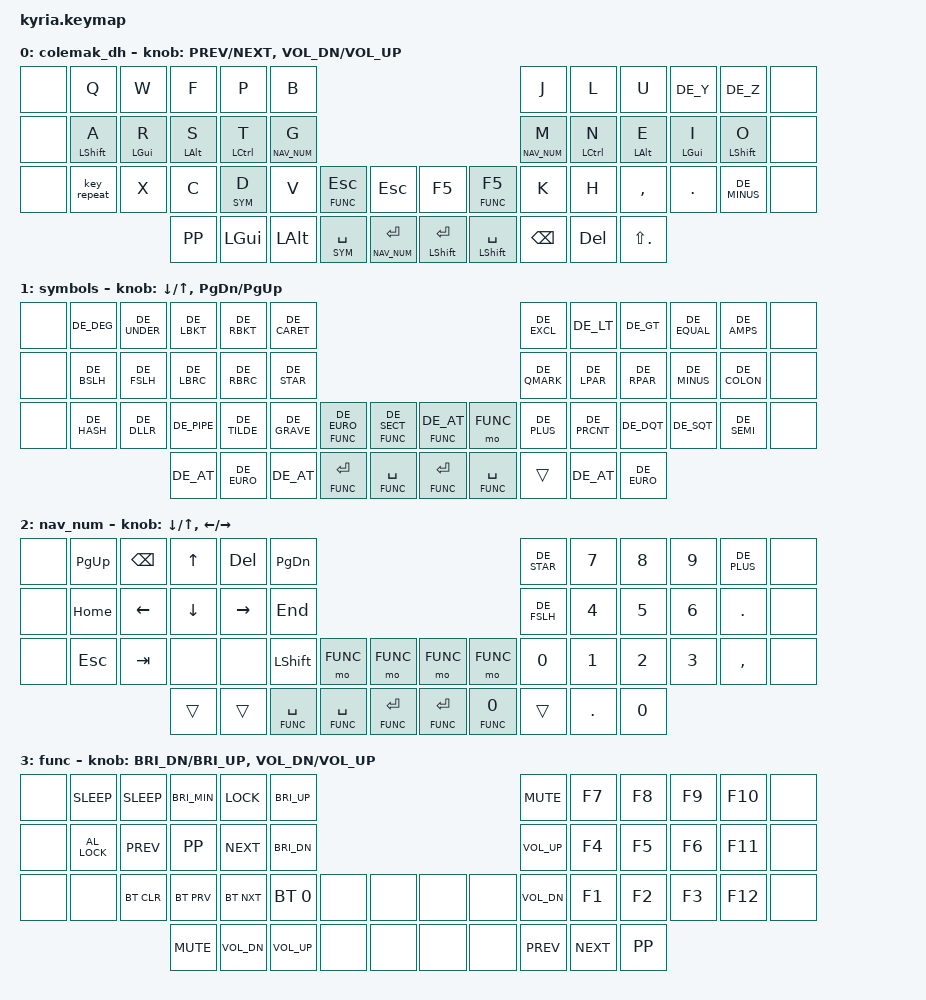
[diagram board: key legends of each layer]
/*
 * Copyright (c) 2020 The ZMK Contributors
 *
 * SPDX-License-Identifier: MIT
 */

#include <behaviors.dtsi>
#include <dt-bindings/zmk/keys.h>
#include <dt-bindings/zmk/bt.h>
#include <dt-bindings/zmk/ext_power.h>
#include <dt-bindings/zmk/outputs.h>

// Thanks to auipga from the ZMK Discord for providing this.
#include "keymap-german-rev3.h"

// Layer Definitions
#define COLEMAK_DH 0
#define SYM 1
#define NAV_NUM 2
#define FUNC 3
// #define NAV_VIM 5

&left_encoder {
    status = "okay";
    steps = <48>;
};

&right_encoder {
    status = "okay";
    steps = <48>;
};


// Behavior configuration
&mt {
    tapping-term-ms = <175>;
    flavor = "tap-preferred";
};
&lt {
    tapping-term-ms = <175>;
    flavor = "tap-preferred";
};
&sk {
    release-after-ms = <500>;
    quick-release;
};

/ {
    behaviors {
        slt: sticky_layer_tap {
            compatible = "zmk,behavior-hold-tap";
            label = "STICKY_LAYER_TAP";
            #binding-cells = <2>;
            tapping_term_ms = <200>;
            quick_tap_ms = <0>;
            flavor = "tap-preferred";
            bindings = <&mo>, <&sk>;
        };
    };

    combos {
        compatible = "zmk,combos";
        combo_tab {
            timeout-ms = <30>;
            key-positions = <15 16>;
            layers = <0 1>;
            bindings = <&kp TAB>;
        };
        combo_ae {
            timeout-ms = <40>;
            key-positions = <13 14>;
            layers = <0>;
            bindings = <&kp DE_AE>;
        };
        combo_ue {
            timeout-ms = <40>;
            key-positions = <8 9>;
            layers = <0>;
            bindings = <&kp DE_UE>;
        };
        combo_oe {
            timeout-ms = <40>;
            key-positions = <21 22>;
            layers = <0>;
            bindings = <&kp DE_OE>;
        };
        combo_ss {
            timeout-ms = <40>;
            key-positions = <14 15>;
            layers = <0>;
            bindings = <&kp DE_SS>;
        };
        combo_mins {
            timeout-ms = <30>;
            key-positions = <20 21>;
            layers = <0 1 2>;
            bindings = <&kp DE_MINUS>;
        };
        combo_unds {
            timeout-ms = <30>;
            key-positions = <19 20>;
            layers = <0 1 2>;
            bindings = <&kp DE_UNDER>;
        };
        combo_at {
            timeout-ms = <30>;
            key-positions = <31 32>;
            layers = <1 2>;
            bindings = <&kp DE_AT>;
        };

    };

    sensors {
        compatible = "zmk,keymap-sensors";
        sensors = <&left_encoder &right_encoder>;
        triggers-per-rotation = <12>;
    };


    keymap {
        compatible = "zmk,keymap";


        colemak_dh {
// .----------------------------------------------------------------------------------------------------------------------.
// ||  Q   |   W  |   F   |  P    |  B   |                   |#|                   |  J   |   L   |   U   |  Y   |  Z    ||
// ||A/LSFT|R/LGUI|S/LALT |T/LCTRL|  G   |                   |#|                   |  M   |N/LCTRL|E/LALT |I/LGUI|O/LSFT ||
// ||repeat|   X  |   C   |   D   |  V   |FUNC/ESC |  ESC    |#|    F5   | FUNC/F5 |  K   |   H   |  ,    |  .   |  - _  ||
//                | Play  | LGUI  | LALT | RET/sym |SPACE/num|#| RET/SFT |SPACE/SFT| BSPC | DEL   |   :   |
            bindings = <
&none &kp Q       &kp W      &kp F      &kp P       &kp B                                    /**/                                 &kp J         &kp L        &kp U        &kp DE_Y   &kp DE_Z     &none
&none &mt LSHFT A &mt LGUI R &mt LALT S &mt LCTRL T &lt NAV_NUM G                            /**/                                 &lt NAV_NUM M &mt LCTRL N  &mt LALT E   &mt LGUI I &mt LSHFT O  &none
&none &key_repeat &kp X      &kp C      &lt SYM D   &kp V      &lt FUNC ESC       &kp ESC    /**/  &kp F5        &lt FUNC F5      &kp K         &kp H        &kp COMMA    &kp DOT    &kp DE_MINUS &none
                             &kp K_PP   &kp LGUI    &kp LALT   &lt SYM SPACE &lt NAV_NUM RET /**/  &mt LSHFT RET &mt LSHFT SPACE  &kp BSPC      &kp DEL      &kp LS(DOT)
            >;
            sensor-bindings = <&inc_dec_kp K_PREV K_NEXT &inc_dec_kp K_VOL_DN K_VOL_UP>;
        };


        symbols {
// .------------------------------------------------------------------------------------------------------.
// ||  °  |   _ |  [  |  ]  |  ^  |                  |#|                  |   !  |  <  |  >  |  =  |  &  ||
// ||  \  | /   |  {  |  }  |  *  |                  |#|                  |   ?  |  (  |  )  |  -  |  :  ||
// ||  #  |  $  |  |  |  ~  |  `  |    €    |    §   |#|   @    |   FUNC  |   +  |  %  |  "  |  '  |  ;  ||
//              |  @  |  €  |  @  |  SPACE  |   ESC  |#|  RET   |  SPACE  |      |  @  |  €  |

            bindings = <
&none &kp DE_DEG &kp DE_UNDER &kp DE_LBKT &kp DE_RBKT  &kp DE_CARET                                /**/                                &kp DE_EXCL  &kp DE_LT    &kp DE_GT   &kp DE_EQUAL &kp DE_AMPS  &none
&none &kp DE_BSLH &kp DE_FSLH &kp DE_LBRC &kp DE_RBRC  &kp DE_STAR                                 /**/                                &kp DE_QMARK &kp DE_LPAR  &kp DE_RPAR &kp DE_MINUS &kp DE_COLON &none
&none &kp DE_HASH &kp DE_DLLR &kp DE_PIPE &kp DE_TILDE &kp DE_GRAVE &lt FUNC DE_EURO &lt FUNC DE_SECT /**/ &lt FUNC DE_AT &mo FUNC     &kp DE_PLUS  &kp DE_PRCNT &kp DE_DQT  &kp DE_SQT   &kp DE_SEMI  &none
                              &kp DE_AT   &kp DE_EURO  &kp DE_AT      &lt FUNC RET &lt FUNC SPACE  /**/  &lt FUNC RET  &lt FUNC SPACE  &trans       &kp DE_AT       &kp DE_EURO
            >;
            sensor-bindings = <&inc_dec_kp DOWN UP &inc_dec_kp PG_DN PG_UP>;
        };

        nav_num {
// .---------------------------------------------------------------------------------------------------------------------.
// || PgUp | Bksp |  up   |  del  | PgDn|                   |#|                   |   *   |  7   |  8   |   9   |   +   ||
// || home | left |  down | right | end |                   |#|                   |   /   |  4   |  5   |   6   |  ./:  ||
// ||  esc |  tab |       |       |shift|   FUNC  |   FUNC  |#|   FUNC  |   FUNC  |   0   |  1   |  2   |   3   |  ,/;  ||
//                |       |       |  0  |  SPACE  |   RET   |#|   RET   |    0    |       |  .   |  0   |

            bindings = <
&none &kp PG_UP &kp BSPC  &kp UP     &kp DEL    &kp PG_DN                                    /**/                                &kp DE_STAR   &kp N7  &kp N8   &kp N9  &kp DE_PLUS &none
&none &kp HOME  &kp LEFT  &kp DOWN   &kp RIGHT  &kp END                                      /**/                                &kp DE_FSLH   &kp N4  &kp N5   &kp N6  &kp DOT     &none
&none &kp ESC   &kp TAB   &none      &none      &kp LSHFT       &mo FUNC       &mo FUNC      /**/  &mo FUNC      &mo FUNC        &kp N0        &kp N1  &kp N2   &kp N3  &kp CMMA    &none
                          &trans     &trans     &lt FUNC SPACE  &lt FUNC SPACE &lt FUNC RET  /**/  &lt FUNC RET  &lt FUNC N0     &trans        &kp DOT &kp N0
            >;
            sensor-bindings = <&inc_dec_kp DOWN UP &inc_dec_kp LEFT RIGHT>;
        };


        func {
// .-----------------------------------------------------------------------------------------------------------------------.
// || sleep | sleep|bri min| lock  |bri +|                   |#|                   | mute  |  F7  |  F8  |  F9   |  F10  ||
// || lock  | prev | play  | next  |bri -|                   |#|                   | vol + |  F4  |  F5  |  F6   |  F11  ||
// ||       |bt_clr|bt_prev| bt_nxt| bt 0|   ---   |   ---   |#|   ---   |   ---   | vol - |  F1  |  F2  |  F3   |  F12  ||
//                 | mute  | vol - |vol +|   ---   |   ---   |#|   ---   |   ---   |  prev | next | play |

      bindings = <
&none &kp K_SLEEP   &kp K_SLEEP &kp C_BRI_MIN &kp K_LOCK &kp C_BRI_UP                /**/                &kp K_MUTE    &kp F7  &kp F8  &kp F9  &kp F10  &none
&none &kp C_AL_LOCK &kp K_PREV  &kp K_PP      &kp K_NEXT &kp C_BRI_DN                /**/                &kp K_VOL_UP  &kp F4  &kp F5  &kp F6  &kp F11  &none
&none &none         &bt BT_CLR  &bt BT_PRV    &bt BT_NXT &bt BT_SEL 0  &none  &none  /**/ &none  &none   &kp K_VOL_DN  &kp F1  &kp F2  &kp F3  &kp F12  &none
                                &kp K_MUTE  &kp K_VOL_DN &kp K_VOL_UP  &none  &none  /**/ &none  &none   &kp K_PREV    &kp K_NEXT &kp K_PP
            >;
            sensor-bindings = <&inc_dec_kp C_BRI_DN C_BRI_UP &inc_dec_kp K_VOL_DN K_VOL_UP>;
        };
    };
};
